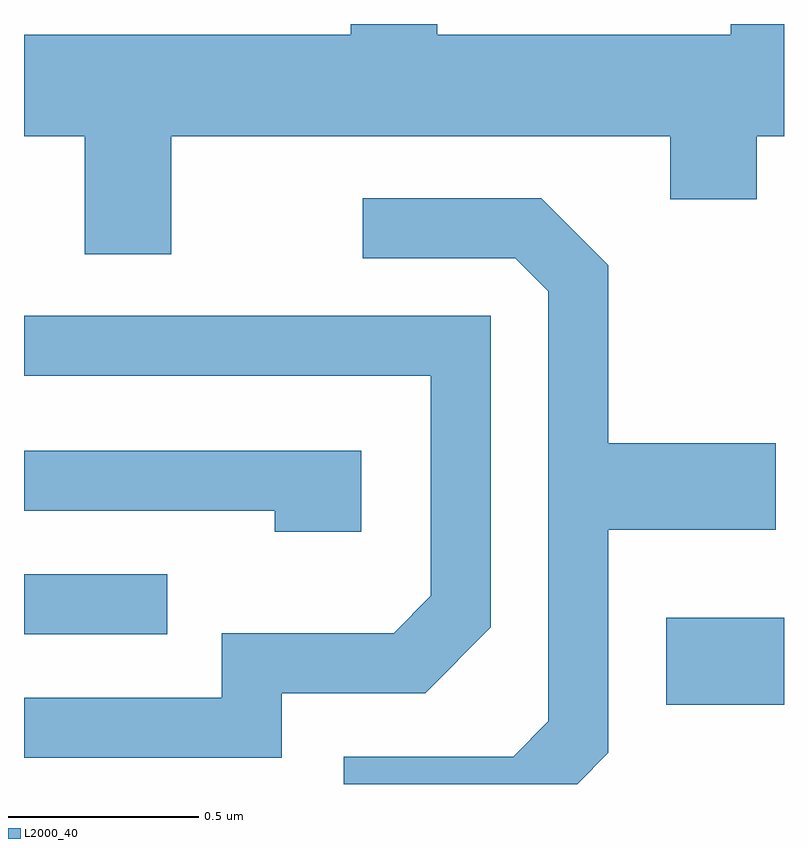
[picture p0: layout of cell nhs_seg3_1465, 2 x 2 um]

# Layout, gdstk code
import gdstk
lib = gdstk.Library(unit=1e-6, precision=1e-09)
def R(c, l, rs):  # rectangles x0, y0, x1, y1
    for r in rs: c.add(gdstk.rectangle(r[:2], r[2:], *l))
def P(c, l, *ps):  # polygons
    for p in ps: c.add(gdstk.Polygon(p, *l))
L2000_40 = (2000, 40)

nhs_seg3_1465 = lib.new_cell('nhs_seg3_1465')
R(nhs_seg3_1465, L2000_40, [(197.301,1211.101,197.611,1211.329), (195.611,1211.286,195.988,1211.444)])
P(nhs_seg3_1465, L2000_40, [(195.999,1212.596),(197.311,1212.596),(197.311,1212.431),(197.539,1212.431),(197.539,1212.596),(197.611,1212.596),(197.611,1212.892),(197.471,1212.892),(197.471,1212.864),(196.699,1212.864),(196.699,1212.892),(196.471,1212.892),(196.471,1212.864),(195.611,1212.864),(195.611,1212.596),(195.771,1212.596),(195.771,1212.286),(195.999,1212.286)],
  [(197.149,1210.974),(197.149,1211.561),(197.589,1211.561),(197.589,1211.789),(197.149,1211.789),(197.149,1212.257),(196.972,1212.434),(196.503,1212.434),(196.503,1212.276),(196.904,1212.276),(196.991,1212.189),(196.991,1211.057),(196.899,1210.964),(196.453,1210.964),(196.453,1210.892),(197.067,1210.892)],
  [(196.289,1211.131),(196.667,1211.131),(196.839,1211.304),(196.839,1212.124),(195.611,1212.124),(195.611,1211.966),(196.681,1211.966),(196.681,1211.387),(196.584,1211.289),(196.131,1211.289),(196.131,1211.119),(195.611,1211.119),(195.611,1210.961),(196.289,1210.961)],
  [(196.499,1211.769),(195.611,1211.769),(195.611,1211.611),(196.271,1211.611),(196.271,1211.556),(196.499,1211.556)])

lib.write_gds('nhs_seg3_1465.gds')
